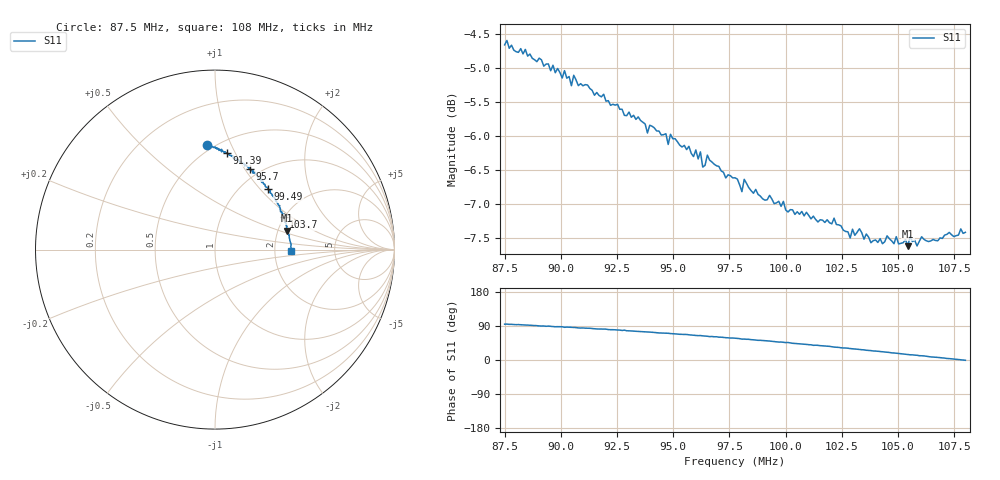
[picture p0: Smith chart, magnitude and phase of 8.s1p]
!Agilent Technologies,N5225A,MY51441201,A.09.90.19
!Agilent N5225A: A.09.90.19
!Date: Wednesday, April 25, 2018 14:36:32
!Correction: S11(Full 1 Port(1))
!S1P File: Measurement: S11:
# Hz S  dB  R 50
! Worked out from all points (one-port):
!   201 points, 87.5 MHz to 108 MHz, reference 50 ohm
!   lowest |S11| = -7.6 dB at 105.4 MHz (marker M1), VSWR 2.42, Z = 112 + j28.5 ohm
!   |S11| at or under -10 dB: nowhere
!   S11 on the Smith chart (normalised r, x): 87.5 MHz: 0.46, +0.81; 91.39 MHz: 0.61, +0.93; 95.7 MHz: 0.89, +1.06; 99.49 MHz: 1.31, +1.10; 103.7 MHz: 1.98, +0.87; 108 MHz: 2.48, -0.03
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8.75e7  -4.66 94.5
8.8115e7  -4.77 93.5
8.84225e7  -4.72 92.2
8.9755e7  -5.07 87.7
9.00625e7  -5.15 87.7
9.0165e7  -5.04 86.2
9.04725e7  -5.26 86.1
9.0575e7  -5.10 86.0
9.1395e7  -5.33 83.0
9.2625e7  -5.61 78.9
9.51875e7  -6.08 68.5
9.57e7  -6.15 66.5
9.611e7  -6.34 64.3
9.62125e7  -6.23 64.5
9.6315e7  -6.46 63.7
9.652e7  -6.28 62.7
9.775e7  -6.61 57.6
9.80575e7  -6.82 55.1
9.816e7  -6.64 55.2
9.94925e7  -6.99 48.7
1.003125e8  -7.09 44.1
1.021575e8  -7.21 34.1
1.02875e8  -7.50 30.1
1.03695e8  -7.49 25.2
1.054375e8  -7.62 14.6
1.0554e8  -7.48 13.8
1.058475e8  -7.62 12.5
1.08e8  -7.42 -0.7
